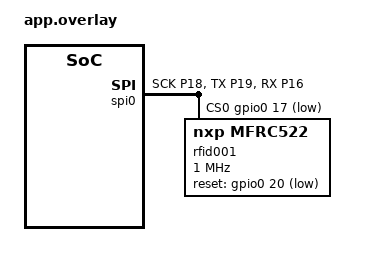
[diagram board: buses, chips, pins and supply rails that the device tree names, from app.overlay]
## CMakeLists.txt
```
cmake_minimum_required(VERSION 3.20.0)

find_package(Zephyr REQUIRED HINTS $ENV{ZEPHYR_BASE})

project(rfid-zephyr-rtos)

add_subdirectory(drivers/mfrc522)

target_sources(app PRIVATE
    src/main.c
)
```

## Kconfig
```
mainmenu "MFRC522 RFID Application"

source "Kconfig.zephyr"

rsource "drivers/mfrc522/Kconfig"
```

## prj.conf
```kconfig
CONFIG_MFRC522=y
CONFIG_LOG=y
CONFIG_MFRC522_LOG_LEVEL_DBG=y
```

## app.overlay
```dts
&pinctrl{
	spirfid_default: spirfid_default {
		group1 {
			pinmux =  <SPI0_SCK_P18>, <SPI0_TX_P19>;
		};

		group2 {
			pinmux = <SPI0_RX_P16>;
			input-enable;
		};
	};
};


&spi0 {
	status = "okay";
	cs-gpios = <&gpio0 17 GPIO_ACTIVE_LOW>;
	pinctrl-0 = <&spirfid_default>;
	pinctrl-names = "default";
	
	rfid001:rfid@0{
		compatible = "nxp,mfrc522";
		reg = <0>;
		spi-max-frequency = <1000000>;
		reset-gpios = <&gpio0 20 GPIO_ACTIVE_LOW>;
	};
};
```

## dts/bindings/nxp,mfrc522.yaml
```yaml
description: NXP MFRC522 13.55 MHz RFID Reader

compatible : "nxp,mfrc522"

include: spi-device.yaml

properties:
  reset-gpios:
    type: phandle-array
    required: true 
    description: Hardware reset pin  (active high to run , low for power-down/reset)
    
```

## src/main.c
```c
#include <zephyr/kernel.h>
#include <zephyr/device.h>
#include <zephyr/logging/log.h>
#include <ctype.h>
#include "mfrc522.h"

LOG_MODULE_REGISTER(main, CONFIG_LOG_DEFAULT_LEVEL);

/* Must match the nodelabel in your app.overlay (e.g., rfid0: mfrc522@0) */
static const struct device *const rfid = DEVICE_DT_GET(DT_NODELABEL(rfid001));

/* Default MIFARE Classic Key A (all 0xFF) */
static const uint8_t default_key[MFRC522_KEY_LEN] = {
    0xFF, 0xFF, 0xFF, 0xFF, 0xFF, 0xFF
};

/* Sector 1 trailer block (covers data blocks 4, 5, and 6) */
#define TARGET_TRAILER_BLOCK 7

int main(void)
{
    uint8_t ver = 0;
    struct mfrc522_tag_data tag;
    int ret;

    if (!device_is_ready(rfid)) {
        LOG_ERR("MFRC522 device is not ready (check SPI/RST wiring and app.overlay)");
        return -ENODEV;
    }

    /* Quick hardware sanity check via VersionReg (0x37) */
    ret = mfrc522_reg_read(rfid, MFRC522_REG_VERSION, &ver);
    if (ret == 0) {
        LOG_INF("MFRC522 Ready! Firmware Version: 0x%02x", ver);
    }

    LOG_INF("Tap an RFID card or keyfob near the antenna...");

    while (1) {
        ret = mfrc522_read_sector(rfid, TARGET_TRAILER_BLOCK, default_key, &tag);

        if (ret == 0) {
            /* Clean non-printable bytes from factory-blank cards before printing */
            for (size_t i = 0; i < MFRC522_SECTOR_DATA_LEN; i++) {
                if (!isprint((unsigned char)tag.text[i])) {
                    tag.text[i] = '.';
                }
            }

            LOG_INF("Tag Detected! UID: %02X:%02X:%02X:%02X (ID: %u)",
                    tag.uid_raw[0], tag.uid_raw[1],
                    tag.uid_raw[2], tag.uid_raw[3],
                    tag.uid_num);
            LOG_INF("Sector Data : %s", tag.text);

            /* Wait 1 second after a successful read so it doesn't spam logs */
            k_sleep(K_SECONDS(1));
        } else if (ret == -EAGAIN) {
            /* No card in field — poll again shortly */
            k_sleep(K_MSEC(150));
        } else {
            LOG_WRN("Card detected, but read returned error: %d", ret);
            k_sleep(K_MSEC(500));
        }
    }

    return 0;
}
```
